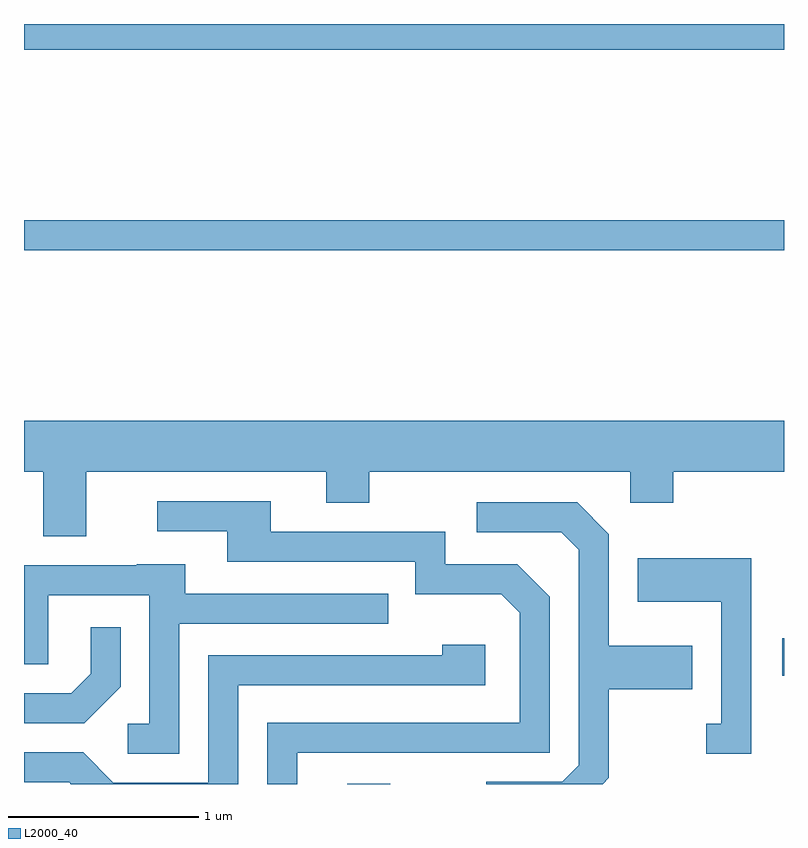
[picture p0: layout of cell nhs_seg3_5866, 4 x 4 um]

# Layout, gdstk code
import gdstk
lib = gdstk.Library(unit=1e-6, precision=1e-09)
def R(c, l, rs):  # rectangles x0, y0, x1, y1
    for r in rs: c.add(gdstk.rectangle(r[:2], r[2:], *l))
def P(c, l, *ps):  # polygons
    for p in ps: c.add(gdstk.Polygon(p, *l))
L2000_40 = (2000, 40)

nhs_seg3_5866 = lib.new_cell('nhs_seg3_5866')
R(nhs_seg3_5866, L2000_40, [(359.311,1159.892,359.539,1159.894), (361.601,1160.461,361.611,1160.659), (357.611,1162.701,361.611,1162.859), (357.611,1163.756,361.611,1163.892)])
P(nhs_seg3_5866, L2000_40, [(357.939,1161.536),(359.201,1161.536),(359.201,1161.371),(359.429,1161.371),(359.429,1161.536),(360.801,1161.536),(360.801,1161.371),(361.029,1161.371),(361.029,1161.536),(361.611,1161.536),(361.611,1161.804),(357.611,1161.804),(357.611,1161.536),(357.711,1161.536),(357.711,1161.196),(357.939,1161.196)],
  [(359.049,1160.056),(360.379,1160.056),(360.379,1160.877),(360.207,1161.049),(359.829,1161.049),(359.829,1161.219),(358.909,1161.219),(358.909,1161.379),(358.313,1161.379),(358.313,1161.221),(358.681,1161.221),(358.681,1161.061),(359.671,1161.061),(359.671,1160.891),(360.124,1160.891),(360.221,1160.794),(360.221,1160.214),(358.891,1160.214),(358.891,1159.892),(359.049,1159.892)],
  [(360.689,1159.924),(360.689,1160.391),(361.129,1160.391),(361.129,1160.619),(360.689,1160.619),(360.689,1161.207),(360.522,1161.374),(359.993,1161.374),(359.993,1161.216),(360.439,1161.216),(360.531,1161.124),(360.531,1159.992),(360.444,1159.904),(360.043,1159.904),(360.043,1159.892),(360.657,1159.892)],
  [(361.439,1161.079),(360.841,1161.079),(360.841,1160.851),(361.281,1160.851),(361.281,1160.209),(361.203,1160.209),(361.203,1160.051),(361.439,1160.051)],
  [(358.429,1160.736),(359.528,1160.736),(359.528,1160.894),(358.459,1160.894),(358.459,1161.049),(358.205,1161.049),(358.205,1161.044),(357.611,1161.044),(357.611,1160.521),(357.739,1160.521),(357.739,1160.886),(358.271,1160.886),(358.271,1160.209),(358.158,1160.209),(358.158,1160.051),(358.429,1160.051)],
  [(358.119,1160.404),(358.119,1160.718),(357.961,1160.718),(357.961,1160.472),(357.859,1160.369),(357.611,1160.369),(357.611,1160.211),(357.927,1160.211)],
  [(358.739,1160.411),(360.039,1160.411),(360.039,1160.624),(359.811,1160.624),(359.811,1160.569),(358.581,1160.569),(358.581,1159.899),(358.082,1159.899),(357.922,1160.059),(357.611,1160.059),(357.611,1159.901),(357.849,1159.901),(357.858,1159.892),(358.739,1159.892)])

lib.write_gds('nhs_seg3_5866.gds')
